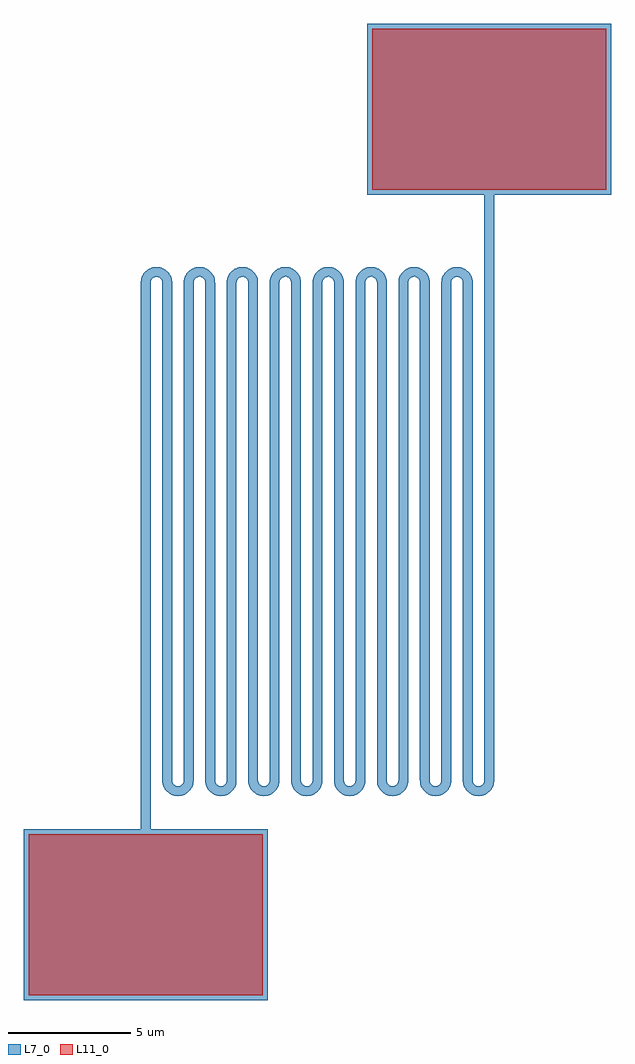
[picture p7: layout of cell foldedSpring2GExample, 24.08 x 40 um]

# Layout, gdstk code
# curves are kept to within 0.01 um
import gdstk
lib = gdstk.Library(unit=1e-6, precision=1e-09)
def R(c, l, rs):  # rectangles x0, y0, x1, y1
    for r in rs: c.add(gdstk.rectangle(r[:2], r[2:], *l))
def P(c, l, *ps):  # polygons
    for p in ps: c.add(gdstk.Polygon(p, *l))
L7_0 = (7, 0)
L11_0 = (11, 0)

foldedspring2gexample = lib.new_cell('foldedSpring2GExample')
P(foldedspring2gexample, L7_0, [(0,0),(0,7),(4.8,7),(4.8,20),(5.2,20),(5.2,7),(10,7),(10,0)],
  [(6.32,8.36),(6.104,8.397),(5.964,8.468),(5.867,8.547),(5.741,8.726),(5.699,8.844),(5.681,8.969),(5.68,20),(6.08,20),(6.08,8.988),(6.098,8.908),(6.15,8.83),(6.228,8.778),(6.308,8.76),(6.412,8.778),(6.49,8.83),(6.542,8.908),(6.56,8.988),(6.56,20),(6.96,20),(6.959,8.969),(6.941,8.844),(6.899,8.726),(6.773,8.547),(6.676,8.468),(6.536,8.397)],
  [(8.08,8.36),(7.864,8.397),(7.724,8.468),(7.627,8.547),(7.501,8.726),(7.459,8.844),(7.441,8.969),(7.44,20),(7.84,20),(7.84,8.988),(7.858,8.908),(7.91,8.83),(7.988,8.778),(8.068,8.76),(8.172,8.778),(8.25,8.83),(8.302,8.908),(8.32,8.988),(8.32,20),(8.72,20),(8.719,8.969),(8.701,8.844),(8.659,8.726),(8.533,8.547),(8.436,8.468),(8.296,8.397)],
  [(9.84,8.36),(9.624,8.397),(9.484,8.468),(9.387,8.547),(9.261,8.726),(9.219,8.844),(9.201,8.969),(9.2,20),(9.6,20),(9.6,8.988),(9.618,8.908),(9.67,8.83),(9.748,8.778),(9.828,8.76),(9.932,8.778),(10.01,8.83),(10.062,8.908),(10.08,8.988),(10.08,20),(10.48,20),(10.479,8.969),(10.461,8.844),(10.419,8.726),(10.293,8.547),(10.196,8.468),(10.056,8.397)],
  [(11.6,8.36),(11.384,8.397),(11.244,8.468),(11.147,8.547),(11.021,8.726),(10.979,8.844),(10.961,8.969),(10.96,20),(11.36,20),(11.36,8.988),(11.378,8.908),(11.43,8.83),(11.508,8.778),(11.588,8.76),(11.692,8.778),(11.77,8.83),(11.822,8.908),(11.84,8.988),(11.84,20),(12.04,20),(12.04,8.536),(11.929,8.451),(11.816,8.397)],
  [(12.04,8.536),(12.04,20),(12.24,20),(12.24,9),(12.228,8.875),(12.179,8.726),(12.114,8.619)],
  [(13.36,8.36),(13.144,8.397),(13.004,8.468),(12.907,8.547),(12.781,8.726),(12.739,8.844),(12.721,8.969),(12.72,20),(13.12,20),(13.12,8.988),(13.138,8.908),(13.19,8.83),(13.268,8.778),(13.348,8.76),(13.452,8.778),(13.53,8.83),(13.582,8.908),(13.6,8.988),(13.6,20),(14,20),(13.999,8.969),(13.981,8.844),(13.939,8.726),(13.813,8.547),(13.716,8.468),(13.576,8.397)],
  [(15.12,8.36),(14.904,8.397),(14.764,8.468),(14.667,8.547),(14.541,8.726),(14.499,8.844),(14.481,8.969),(14.48,20),(14.88,20),(14.88,8.988),(14.898,8.908),(14.95,8.83),(15.028,8.778),(15.108,8.76),(15.212,8.778),(15.29,8.83),(15.342,8.908),(15.36,8.988),(15.36,20),(15.76,20),(15.759,8.969),(15.741,8.844),(15.699,8.726),(15.573,8.547),(15.476,8.468),(15.336,8.397)],
  [(16.88,8.36),(16.664,8.397),(16.524,8.468),(16.427,8.547),(16.301,8.726),(16.259,8.844),(16.241,8.969),(16.24,20),(16.64,20),(16.64,8.988),(16.658,8.908),(16.71,8.83),(16.788,8.778),(16.868,8.76),(16.972,8.778),(17.05,8.83),(17.102,8.908),(17.12,8.988),(17.12,20),(17.52,20),(17.519,8.969),(17.501,8.844),(17.459,8.726),(17.333,8.547),(17.236,8.468),(17.096,8.397)],
  [(18.64,8.36),(18.424,8.397),(18.284,8.468),(18.187,8.547),(18.061,8.726),(18.019,8.844),(18.001,8.969),(18,20),(18.4,20),(18.4,8.988),(18.418,8.908),(18.47,8.83),(18.548,8.778),(18.628,8.76),(18.732,8.778),(18.81,8.83),(18.862,8.908),(18.88,8.988),(18.88,20),(19.28,20),(19.279,8.969),(19.261,8.844),(19.219,8.726),(19.093,8.547),(18.996,8.468),(18.856,8.397)],
  [(11.84,20),(11.84,29.4),(11.852,29.525),(11.901,29.674),(11.966,29.781),(12.04,29.864),(12.04,20)],
  [(4.8,20),(4.803,29.463),(4.861,29.674),(4.945,29.806),(5.034,29.895),(5.224,30.003),(5.377,30.037),(5.503,30.037),(5.714,29.979),(5.893,29.853),(6.019,29.674),(6.061,29.556),(6.079,29.431),(6.08,20),(5.68,20),(5.68,29.412),(5.662,29.492),(5.61,29.57),(5.532,29.622),(5.452,29.64),(5.348,29.622),(5.27,29.57),(5.218,29.492),(5.2,29.412),(5.2,20)],
  [(6.56,20),(6.563,29.463),(6.621,29.674),(6.705,29.806),(6.794,29.895),(6.984,30.003),(7.137,30.037),(7.263,30.037),(7.474,29.979),(7.653,29.853),(7.779,29.674),(7.821,29.556),(7.839,29.431),(7.84,20),(7.44,20),(7.44,29.412),(7.422,29.492),(7.37,29.57),(7.292,29.622),(7.212,29.64),(7.108,29.622),(7.03,29.57),(6.978,29.492),(6.96,29.412),(6.96,20)],
  [(8.32,20),(8.323,29.463),(8.381,29.674),(8.465,29.806),(8.554,29.895),(8.744,30.003),(8.897,30.037),(9.023,30.037),(9.234,29.979),(9.413,29.853),(9.539,29.674),(9.581,29.556),(9.599,29.431),(9.6,20),(9.2,20),(9.2,29.412),(9.182,29.492),(9.13,29.57),(9.052,29.622),(8.972,29.64),(8.868,29.622),(8.79,29.57),(8.738,29.492),(8.72,29.412),(8.72,20)],
  [(10.08,20),(10.083,29.463),(10.141,29.674),(10.225,29.806),(10.314,29.895),(10.504,30.003),(10.657,30.037),(10.783,30.037),(10.994,29.979),(11.173,29.853),(11.299,29.674),(11.341,29.556),(11.359,29.431),(11.36,20),(10.96,20),(10.96,29.412),(10.942,29.492),(10.89,29.57),(10.812,29.622),(10.732,29.64),(10.628,29.622),(10.55,29.57),(10.498,29.492),(10.48,29.412),(10.48,20)],
  [(12.04,20),(12.04,29.864),(12.151,29.949),(12.264,30.003),(12.386,30.033),(12.511,30.039),(12.636,30.021),(12.754,29.979),(12.933,29.853),(13.059,29.674),(13.101,29.556),(13.119,29.431),(13.12,20),(12.72,20),(12.72,29.412),(12.702,29.492),(12.65,29.57),(12.572,29.622),(12.492,29.64),(12.388,29.622),(12.31,29.57),(12.258,29.492),(12.24,29.412),(12.24,20)],
  [(13.6,20),(13.603,29.463),(13.661,29.674),(13.745,29.806),(13.834,29.895),(14.024,30.003),(14.177,30.037),(14.303,30.037),(14.514,29.979),(14.693,29.853),(14.819,29.674),(14.861,29.556),(14.879,29.431),(14.88,20),(14.48,20),(14.48,29.412),(14.462,29.492),(14.41,29.57),(14.332,29.622),(14.252,29.64),(14.148,29.622),(14.07,29.57),(14.018,29.492),(14,29.412),(14,20)],
  [(15.36,20),(15.363,29.463),(15.421,29.674),(15.505,29.806),(15.594,29.895),(15.784,30.003),(15.937,30.037),(16.063,30.037),(16.274,29.979),(16.453,29.853),(16.579,29.674),(16.621,29.556),(16.639,29.431),(16.64,20),(16.24,20),(16.24,29.412),(16.222,29.492),(16.17,29.57),(16.092,29.622),(16.012,29.64),(15.908,29.622),(15.83,29.57),(15.778,29.492),(15.76,29.412),(15.76,20)],
  [(17.12,20),(17.123,29.463),(17.181,29.674),(17.265,29.806),(17.354,29.895),(17.544,30.003),(17.697,30.037),(17.823,30.037),(18.034,29.979),(18.213,29.853),(18.339,29.674),(18.381,29.556),(18.399,29.431),(18.4,20),(18,20),(18,29.412),(17.982,29.492),(17.93,29.57),(17.852,29.622),(17.772,29.64),(17.668,29.622),(17.59,29.57),(17.538,29.492),(17.52,29.412),(17.52,20)],
  [(18.88,20),(18.88,33),(14.08,33),(14.08,40),(24.08,40),(24.08,33),(19.28,33),(19.28,20)])
R(foldedspring2gexample, L11_0, [(0.2,0.2,9.8,6.8), (14.28,33.2,23.88,39.8)])

lib.write_gds('foldedSpring2GExample.gds')
